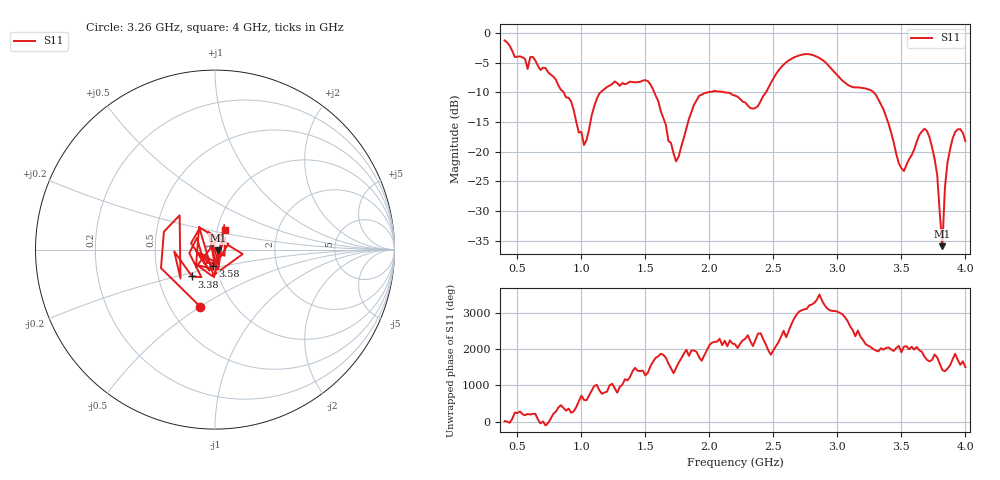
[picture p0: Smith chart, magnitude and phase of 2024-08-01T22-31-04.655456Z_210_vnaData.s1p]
!Created with skrf (http://scikit-rf.org).
# Hz S RI R 50.0
!freq ReS11 ImS11
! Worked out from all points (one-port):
!   181 points, 400 MHz to 4 GHz, reference 50 ohm
!   lowest |S11| = -35.9 dB at 3.82 GHz (marker M1), VSWR 1.03, Z = 51.5 - j0.498 ohm
!   |S11| at or under -10 dB: 1.569 GHz to 1.991 GHz (421.9 MHz wide, 23.7 % of centre); 2.114 GHz to 2.443 GHz (328.8 MHz wide, 14.4 % of centre); 3.282 GHz to end of sweep (the widest 3 of 4)
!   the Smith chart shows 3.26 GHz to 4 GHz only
!   S11 on the Smith chart (normalised r, x): 3.26 GHz: 0.70, -0.50; 3.38 GHz: 0.74, -0.23; 3.58 GHz: 0.96, -0.18; 4 GHz: 1.09, +0.24
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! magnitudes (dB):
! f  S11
! 400 MHz  -1.3
! 860 MHz  -10.0
! 920 MHz  -11.6
! 1.02 GHz  -18.9
! 1.14 GHz  -10.2
! 1.3 GHz  -8.9
! 1.52 GHz  -8.2
! 1.74 GHz  -21.6
! 1.76 GHz  -20.8
! 1.92 GHz  -10.6
! 2.2 GHz  -10.6
! 2.36 GHz  -12.6
! 2.66 GHz  -4.1
! 2.86 GHz  -4.2
! 3.1 GHz  -9.0
! 3.26 GHz  -9.7
! 3.38 GHz  -14.1
! 3.48 GHz  -22.0
! 3.56 GHz  -21.3
! 3.58 GHz  -20.6
! 3.68 GHz  -16.1
! 3.72 GHz  -17.6
! 3.78 GHz  -24.0
! 3.82 GHz  -35.9
! 3.84 GHz  -26.1
! 3.88 GHz  -19.7
! 3.94 GHz  -16.3
! 4 GHz  -18.2
